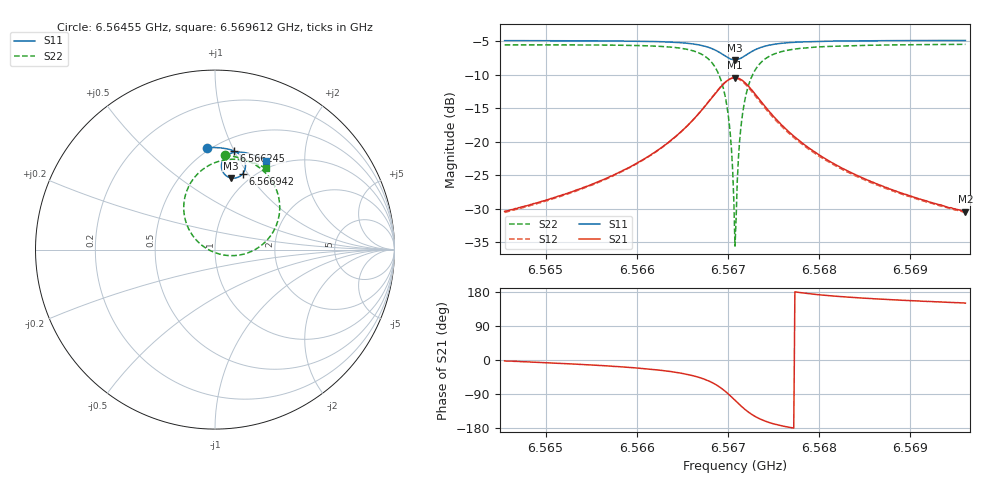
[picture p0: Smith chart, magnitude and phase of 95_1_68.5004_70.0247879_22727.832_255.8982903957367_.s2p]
#  HZ  S  RI  R  50.00
! Rohde & Schwarz Vector Network Analyzer
! Rohde-Schwarz,ZNB20-2Port,1311601062101988,3.16
! Created: UTC 3/20/2024, 4:52:49 PM
! freq[Hz]  re:S11  im:S11  re:S21  im:S21  re:S12  im:S12  re:S22  im:S22
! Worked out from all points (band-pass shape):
!   401 points, 6.56455 GHz to 6.569612 GHz, reference 50 ohm
!   highest |S21| = -10.42 dB at 6.567081 GHz (marker M1); lowest = -30.4 dB at 6.569612 GHz (marker M2)
!   |S21| within 3 dB of the highest: 6.566827 GHz to 6.567334 GHz (506.9 kHz wide, 0.00772 % of centre)
!   lowest |S11| = -7.8 dB at 6.567081 GHz (marker M3), VSWR 2.39, Z = 41.9 + j40.3 ohm
!   |S11| at or under -10 dB: nowhere
!   |S22| runs from -35.6 to -5.4 dB; largest |S21 - S12| = 0.015
!   S11 on the Smith chart (normalised r, x): 6.56455 GHz: 0.48, +0.80; 6.566245 GHz: 0.62, +1.00; 6.566942 GHz: 0.89, +0.95; 6.569612 GHz: 0.89, +1.31
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6.5645496e9  -0.0471 0.5674  0.0301 -0.00125  0.0296 -0.00183  0.0555 0.5259
6.5653975e9  0.0234 0.5675  0.044 -0.0092  0.0434 -0.00974  0.1393 0.51
6.5662455e9  0.1059 0.5494  0.0783 -0.0393  0.0773 -0.0404  0.2602 0.4463
6.5665366e9  0.1411 0.5274  0.1019 -0.0767  0.1003 -0.0785  0.3231 0.3724
6.5667391e9  0.1652 0.4923  0.1152 -0.1382  0.1126 -0.1413  0.3601 0.2535
6.566853e9  0.1691 0.4576  0.1035 -0.1995  0.0981 -0.2035  0.3424 0.1368
6.5669415e9  0.1552 0.4239  0.062 -0.2573  0.0526 -0.2606  0.2655 0.0292
6.5669795e9  0.1416 0.4108  0.0304 -0.2785  0.0191 -0.2805  0.2068 -0.00849
6.5670175e9  0.1235 0.4014  -0.00915 -0.2925  -0.0223 -0.2918  0.1334 -0.0308
6.5670428e9  0.1095 0.3984  -0.0389 -0.2956  -0.0524 -0.2926  0.0795 -0.0335
6.5670681e9  0.0949 0.3984  -0.0694 -0.2931  -0.0829 -0.2875  0.0252 -0.025
6.5670808e9  0.0874 0.3997  -0.0844 -0.2893  -0.0977 -0.2826  -0.00125 -0.0165
6.5670934e9  0.0803 0.4017  -0.0991 -0.2842  -0.1119 -0.2764  -0.0266 -0.00544
6.5671061e9  0.0735 0.4045  -0.1132 -0.2776  -0.1252 -0.2688  -0.0505 0.00797
6.5671314e9  0.0611 0.4122  -0.1384 -0.2613  -0.1488 -0.2503  -0.0924 0.041
6.5671694e9  0.0471 0.4276  -0.1679 -0.2296  -0.1751 -0.2172  -0.139 0.1008
6.56722e9  0.0372 0.451  -0.1902 -0.1834  -0.1932 -0.1707  -0.1698 0.185
6.5672833e9  0.0369 0.4782  -0.1961 -0.1306  -0.1954 -0.1194  -0.1705 0.2777
6.5675111e9  0.0747 0.5299  -0.15 -0.0295  -0.1467 -0.0246  -0.0674 0.4475
6.5679287e9  0.1377 0.5436  -0.086 0.00899  -0.0838 0.0104  0.0748 0.502
6.5687767e9  0.2197 0.5253  -0.0415 0.0156  -0.0407 0.0159  0.2067 0.4862
6.569612e9  0.283 0.4961  -0.0261 0.015  -0.0256 0.015  0.2836 0.4528
